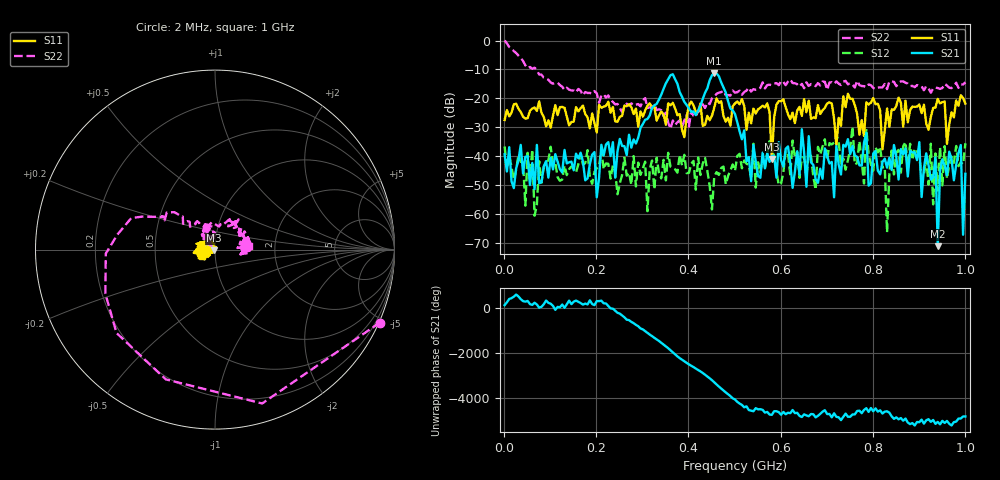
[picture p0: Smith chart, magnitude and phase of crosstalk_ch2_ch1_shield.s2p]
!Keysight Technologies N9923A: A.12.45
!Date: Friday, 10 October 2025 02:29:30
!Timezone: (UTC+08:00) Kuala Lumpur, Singapore
!Model: N9923A
!Serial: MY61181427
!GPS Latitude:
!GPS Longitude:
!GPS TimeStamp: 0001-01-01 00:00:00Z
!GPS Seconds Since Last Read: 0
!CHECKSUM:0973385693
!Correction: S11(ON U?)S21(ON U?)S12(ON U?)S22(ON U?)
!S2P File: Measurements:S11,S21,S12,S22:
# Hz S DB R 50
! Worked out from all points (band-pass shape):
!   201 points, 2 MHz to 1 GHz, reference 50 ohm
!   highest |S21| = -11.17 dB at 456.1 MHz (marker M1); lowest = -71.2 dB at 940.1 MHz (marker M2)
!   |S21| within 3 dB of the highest: 353.4 MHz to 373.8 MHz (20.41 MHz wide, 5.61 % of centre); 445.3 MHz to 470.4 MHz (25.09 MHz wide, 5.48 % of centre)
!   lowest |S11| = -41.0 dB at 580.8 MHz (marker M3), VSWR 1.02, Z = 49.3 - j0.48 ohm
!   |S11| at or under -10 dB: start of sweep to end of sweep
!   |S22| runs from -30.5 to 0.0 dB; largest |S21 - S12| = 0.27
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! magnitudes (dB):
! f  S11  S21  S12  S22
! 2 MHz  -27.5  -39.3  -36.6  0.0
! 46.91 MHz  -27.0  -40.2  -57.1  -8.6
! 61.88 MHz  -23.5  -42.3  -37.7  -9.8
! 66.87 MHz  -23.2  -51.5  -60.6  -9.4
! 171.7 MHz  -22.5  -41.8  -42.9  -19.0
! 336.3 MHz  -26.0  -20.4  -45.9  -23.8
! 456.1 MHz  -23.2  -11.2  -47.1  -19.5
! 501 MHz  -21.7  -25.4  -45.1  -18.0
! 580.8 MHz  -41.0  -39.9  -38.1  -15.4
! 670.7 MHz  -26.6  -43.0  -47.2  -15.1
! 755.5 MHz  -20.1  -36.5  -29.8  -15.3
! 780.4 MHz  -33.0  -35.3  -49.5  -15.8
! 785.4 MHz  -21.4  -31.9  -30.6  -16.2
! 825.4 MHz  -31.0  -40.9  -43.7  -15.0
! 830.3 MHz  -23.5  -44.0  -66.3  -16.8
! 835.3 MHz  -29.8  -40.6  -46.1  -14.1
! 935.1 MHz  -23.2  -40.4  -39.1  -16.2
! 940.1 MHz  -20.2  -71.2  -51.9  -16.4
! 950.1 MHz  -21.3  -41.1  -50.1  -16.4
! 990 MHz  -18.9  -36.2  -42.0  -15.1
! 995 MHz  -19.8  -67.2  -42.8  -15.2
! 1 GHz  -21.8  -46.1  -35.5  -14.4
